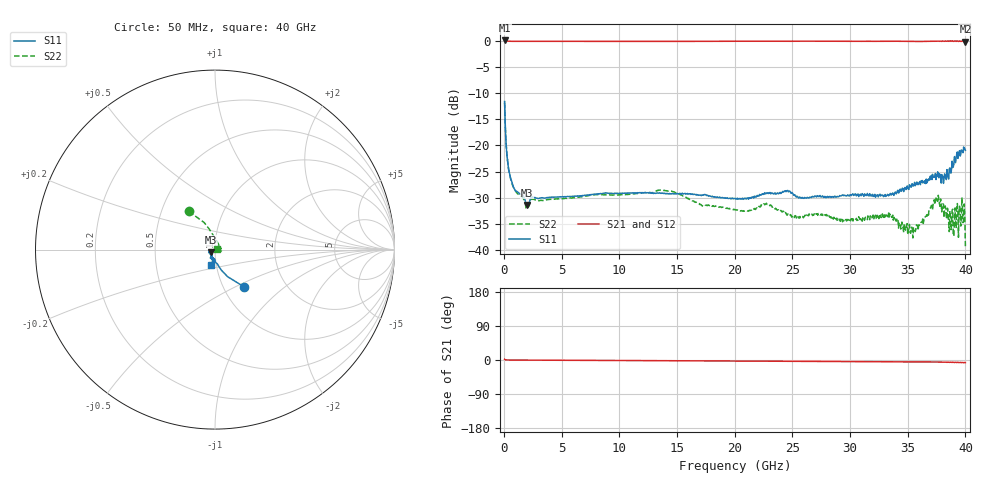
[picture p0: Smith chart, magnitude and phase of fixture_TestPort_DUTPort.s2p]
# Hz S MA R 50.0
!freq magS11 angS11 magS21 angS21 magS12 angS12 magS22 angS22
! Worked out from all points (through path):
!   800 points, 50 MHz to 40 GHz, reference 50 ohm
!   highest |S21| = 0.17 dB at 50 MHz (marker M1); lowest = 0.0 dB at 40 GHz (marker M2)
!   lowest |S11| = -31.4 dB at 1.95 GHz (marker M3), VSWR 1.06, Z = 47.9 - j1.53 ohm
!   |S11| at or under -10 dB: start of sweep to end of sweep
!   |S22| runs from -39.3 to -11.7 dB; largest |S21 - S12| = 7.8e-16
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5e7  0.2646 -51.9  1.019 1.9  1.019 1.9  0.259 124.5
3.5e8  0.0649 -91.5  1.001 -0.1  1.001 -0.1  0.06438 90.6
6e8  0.0473 -104.9  1.001 -0.1  1.001 -0.1  0.04615 74.9
9.5e8  0.03732 -120.3  1.001 -0.2  1.001 -0.2  0.03714 59.0
1.95e9  0.02678 -143.3  0.9996 -0.3  0.9996 -0.3  0.02517 34.8
2.55e9  0.03167 -145.2  0.9996 -0.4  0.9996 -0.4  0.03041 32.9
6.75e9  0.03293 -157.9  0.9987 -0.9  0.9987 -0.9  0.03223 14.9
1.34e10  0.0348 -162.6  0.9972 -1.7  0.9972 -1.7  0.0372 -2.4
1.475e10  0.03431 -162.6  0.9976 -1.8  0.9976 -1.8  0.0358 -12.3
1.72e10  0.03332 -162.1  0.9998 -2.1  0.9998 -2.1  0.02623 -16.3
2.005e10  0.03108 -156.7  1.002 -2.5  1.002 -2.5  0.02406 -11.1
2.275e10  0.03457 -151.8  1.003 -2.9  1.003 -2.9  0.02786 -8.0
2.495e10  0.03534 -156.8  1.001 -3.3  1.001 -3.3  0.02052 -12.0
2.67e10  0.03217 -148.0  1.004 -3.6  1.004 -3.6  0.02189 -4.8
2.95e10  0.03304 -141.6  1.001 -4.1  1.001 -4.1  0.01903 0.5
3.335e10  0.03288 -126.3  1.002 -4.6  1.002 -4.6  0.02252 2.8
3.545e10  0.04082 -112.9  0.998 -5.2  0.998 -5.2  0.01295 22.1
3.765e10  0.05018 -114.6  1.006 -5.4  1.006 -5.4  0.03321 15.3
3.83e10  0.04886 -106.7  1.005 -5.6  1.005 -5.6  0.02444 16.0
3.88e10  0.05936 -99.1  1.004 -6.1  1.004 -6.1  0.01696 5.0
3.97e10  0.08826 -99.0  1.008 -6.6  1.008 -6.6  0.03168 23.7
4e10  0.08979 -105.0  0.9956 -6.8  0.9956 -6.8  0.0108 28.9
